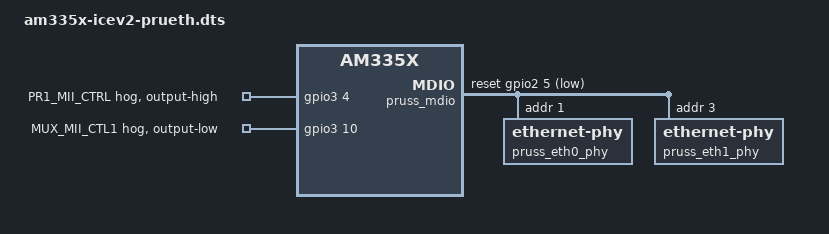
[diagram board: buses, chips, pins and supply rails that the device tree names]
/* SPDX-License-Identifier: GPL-2.0 */

/*
 * Copyright (C) 2018 Texas Instruments Incorporated - http://www.ti.com/
 */

/*
 * AM335x ICE V2 board
 * http://www.ti.com/tool/tmdsice3359
 */

/dts-v1/;

#include "am335x-icev2.dts"

/ {
	aliases {
		ethernet0 = &pruss_emac0;
		ethernet1 = &pruss_emac1;
	};

	/* Dual mac ethernet application node on icss */
	pruss_eth {
		compatible = "ti,am3359-prueth";
		prus = <&pru0>, <&pru1>;
		firmware-name = "ti-pruss/am335x-pru0-prueth-fw.elf",
				"ti-pruss/am335x-pru1-prueth-fw.elf";
		sram = <&ocmcram>;
		interrupt-parent = <&pruss_intc>;
		mii-rt = <&pruss_mii_rt>;
		iep = <&pruss_iep>;
		pinctrl-0 = <&pruss_eth_default>;
		pinctrl-names = "default";

		pruss_emac0: ethernet-mii0 {
			phy-handle = <&pruss_eth0_phy>;
			phy-mode = "mii";
			interrupts = <20>, <22>;
			interrupt-names = "rx", "tx";
			/* Filled in by bootloader */
			local-mac-address = [00 00 00 00 00 00];
		};

		pruss_emac1: ethernet-mii1 {
			phy-handle = <&pruss_eth1_phy>;
			phy-mode = "mii";
			interrupts = <21>, <23>;
			interrupt-names = "rx", "tx";
			/* Filled in by bootloader */
			local-mac-address = [00 00 00 00 00 00];
		};
	};
};

&am33xx_pinmux {
	pruss_mdio_default: pruss_mdio_default {
		pinctrl-single,pins = <
			AM33XX_IOPAD(0x88c, (PIN_OUTPUT | MUX_MODE5))		/* gpmc_clk.pr1_mdio_mdclk */
			AM33XX_IOPAD(0x888, (PIN_INPUT  | MUX_MODE5))		/* gpmc_csn3.pr1_mdio_data */
			AM33XX_IOPAD(0x89c, (PIN_INPUT_PULLUP | MUX_MODE7))	/* gpmc_ben0_cle.gpio2_5 */
			/* disable CPSW MDIO */
			AM33XX_IOPAD(0x948, (PIN_INPUT_PULLUP | MUX_MODE7))	/* mdio_data.gpio0_0 */
			AM33XX_IOPAD(0x94c, (PIN_INPUT_PULLUP | MUX_MODE7))	/* mdio_clk.gpio0_1 */
		>;
	};

	pruss_eth_default: pruss_eth_default {
		pinctrl-single,pins = <
			AM33XX_IOPAD(0x8a0, (PIN_INPUT  | MUX_MODE2))	/* dss_data0.pr1_mii_mt0_clk */
			AM33XX_IOPAD(0x8b4, (PIN_OUTPUT | MUX_MODE2))	/* dss_data5.pr1_mii0_txd0 */
			AM33XX_IOPAD(0x8b0, (PIN_OUTPUT | MUX_MODE2))	/* dss_data4.pr1_mii0_txd1 */
			AM33XX_IOPAD(0x8ac, (PIN_OUTPUT | MUX_MODE2))	/* dss_data3.pr1_mii0_txd2 */
			AM33XX_IOPAD(0x8a8, (PIN_OUTPUT | MUX_MODE2))	/* dss_data2.pr1_mii0_txd3 */
			AM33XX_IOPAD(0x8cc, (PIN_INPUT  | MUX_MODE5))	/* dss_data11.pr1_mii0_rxd0 */
			AM33XX_IOPAD(0x8c8, (PIN_INPUT  | MUX_MODE5))	/* dss_data10.pr1_mii0_rxd1 */
			AM33XX_IOPAD(0x8c4, (PIN_INPUT  | MUX_MODE5))	/* dss_data9.pr1_mii0_rxd2 */
			AM33XX_IOPAD(0x8c0, (PIN_INPUT  | MUX_MODE5))	/* dss_data8.pr1_mii0_rxd3 */
			AM33XX_IOPAD(0x8a4, (PIN_OUTPUT | MUX_MODE2))	/* dss_data1.pr1_mii0_txen */
			AM33XX_IOPAD(0x8d8, (PIN_INPUT  | MUX_MODE5))	/* dss_data14.pr1_mii_mr0_clk */
			AM33XX_IOPAD(0x8dc, (PIN_INPUT  | MUX_MODE5))	/* dss_data15.pr1_mii0_rxdv */
			AM33XX_IOPAD(0x8d4, (PIN_INPUT  | MUX_MODE5))	/* dss_data13.pr1_mii0_rxer */
			AM33XX_IOPAD(0x8d0, (PIN_INPUT  | MUX_MODE5))	/* dss_data12.pr1_mii0_rxlink */
			AM33XX_IOPAD(0x8e8, (PIN_INPUT  | MUX_MODE2))	/* dss_pclk.pr1_mii0_crs */

			AM33XX_IOPAD(0x840, (PIN_INPUT  | MUX_MODE5))	/* gpmc_a0.pr1_mii_mt1_clk */
			AM33XX_IOPAD(0x850, (PIN_OUTPUT | MUX_MODE5))	/* gpmc_a4.pr1_mii1_txd0 */
			AM33XX_IOPAD(0x84c, (PIN_OUTPUT | MUX_MODE5))	/* gpmc_a3.pr1_mii1_txd1 */
			AM33XX_IOPAD(0x848, (PIN_OUTPUT | MUX_MODE5))	/* gpmc_a2.pr1_mii1_txd2 */
			AM33XX_IOPAD(0x844, (PIN_OUTPUT | MUX_MODE5))	/* gpmc_a1.pr1_mii1_txd3 */
			AM33XX_IOPAD(0x860, (PIN_INPUT  | MUX_MODE5))	/* gpmc_a8.pr1_mii1_rxd0 */
			AM33XX_IOPAD(0x85c, (PIN_INPUT  | MUX_MODE5))	/* gpmc_a7.pr1_mii1_rxd1 */
			AM33XX_IOPAD(0x858, (PIN_INPUT  | MUX_MODE5))	/* gpmc_a6.pr1_mii1_rxd2 */
			AM33XX_IOPAD(0x854, (PIN_INPUT  | MUX_MODE5))	/* gpmc_a5.pr1_mii1_rxd3 */
			AM33XX_IOPAD(0x874, (PIN_OUTPUT | MUX_MODE5))	/* gpmc_wpn.pr1_mii1_txen */
			AM33XX_IOPAD(0x864, (PIN_INPUT  | MUX_MODE5))	/* gpmc_a9.pr1_mii_mr1_clk */
			AM33XX_IOPAD(0x868, (PIN_INPUT  | MUX_MODE5))	/* gpmc_a10.pr1_mii1_rxdv */
			AM33XX_IOPAD(0x86c, (PIN_INPUT  | MUX_MODE5))	/* gpmc_a11.pr1_mii1_rxer */
			AM33XX_IOPAD(0x878, (PIN_INPUT  | MUX_MODE5))	/* gpmc_ben1.pr1_mii1_rxlink */
			AM33XX_IOPAD(0x8ec, (PIN_INPUT  | MUX_MODE2))	/* lcd_ac_bias_en.pr1_mii1_crs */
			AM33XX_IOPAD(0x870, (PIN_INPUT  | MUX_MODE5))	/* gpmc_wait0.pr1_mii1_col */
		>;
	};
};

&gpio3 {
	p4 {
		gpio-hog;
		gpios = <4 GPIO_ACTIVE_HIGH>;
		output-high;
		line-name = "PR1_MII_CTRL";
	};

	p10 {
		gpio-hog;
		gpios = <10 GPIO_ACTIVE_HIGH>;
		/* ETH1 mux: Low for MII-PRU, high for RMII-CPSW */
		output-low;
		line-name = "MUX_MII_CTL1";
	};
};

&mac {
	status = "disabled";
};

&davinci_mdio {
	status = "disabled";
};

&pruss_mdio {
	pinctrl-0 = <&pruss_mdio_default>;
	pinctrl-names = "default";
	reset-gpios = <&gpio2 5 GPIO_ACTIVE_LOW>;
	reset-delay-us = <2>; /* PHY datasheet states 1uS min */
	status = "okay";

	pruss_eth0_phy: ethernet-phy@1 {
		 reg = <1>;
	};

	pruss_eth1_phy: ethernet-phy@3 {
		 reg = <3>;
	};
};
